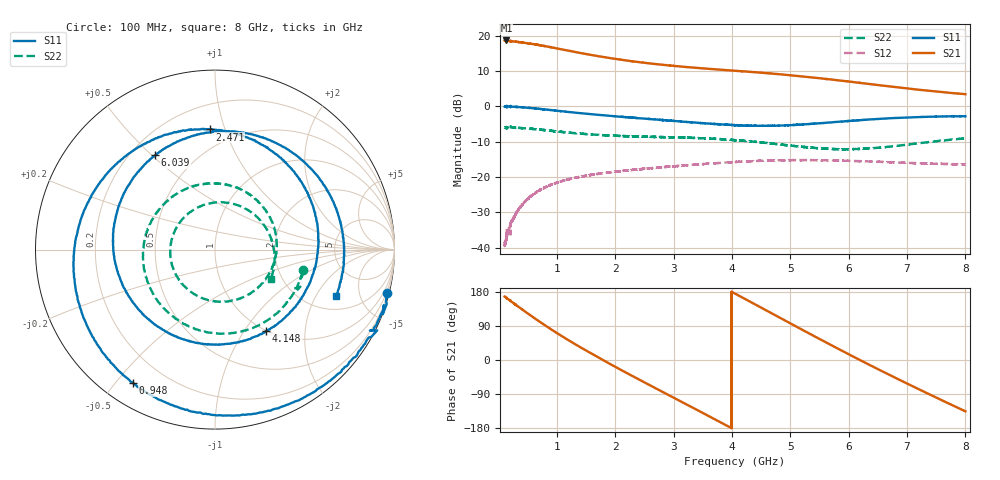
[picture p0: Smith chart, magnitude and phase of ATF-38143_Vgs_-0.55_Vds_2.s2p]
!Agilent Technologies,N5227A,US51270349,A.09.80.20
!Agilent N5227A: A.09.80.20
!Date: Friday, May 27, 2022 18:38:55
!Correction: S11(Full 2 Port(1,2))
!S21(Full 2 Port(1,2))
!S12(Full 2 Port(1,2))
!S22(Full 2 Port(1,2))
!S2P File: Measurements: S11, S21, S12, S22:
# Hz S  RI  R 50
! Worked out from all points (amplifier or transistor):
!   6401 points, 100 MHz to 8 GHz, reference 50 ohm
!   highest |S21| = 18.6 dB at 132.1 MHz (marker M1)
!   |S21| within 3 dB of that: start of sweep to 1.226 GHz
!   unconditionally stable (mu >= 1): 6.738118 GHz to 6.743398 GHz; 6.752578 GHz to 6.765021 GHz; 6.767 GHz to end of sweep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
!   at 1.416 GHz: K = 0.29, MSG = 17.4 dB, |S12| = -19.9 dB
!   at 4.05 GHz: K = 0.69, MSG = 12.9 dB, |S12| = -15.8 dB
!   at 8 GHz: K = 1.14, MAG = 7.6 dB, |S12| = -16.4 dB
!   S11 on the Smith chart (normalised r, x): 100 MHz: 0.36, -8.12; 948 MHz: 0.09, -0.56; 2.471 GHz: 0.37, +0.89; 4.148 GHz: 1.00, -1.27; 6.039 GHz: 0.30, +0.51; 8 GHz: 2.77, -3.01
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1e8  0.96 -0.2395  -8.282 1.829  0.0029 0.0109  0.488 -0.1115
1.320938e8  0.9625 -0.3177  -8.171 2.403  0.0012 0.0137  0.4886 -0.1526
3.407031e8  0.6717 -0.705  -6.214 5.19  0.0214 0.0282  0.3566 -0.3441
5.382031e8  0.2902 -0.9007  -3.649 6.757  0.0441 0.0289  0.1726 -0.4493
7.344688e8  -0.102 -0.9059  -0.9432 7.135  0.0658 0.0163  -0.0187 -0.4631
9.480156e8  -0.4575 -0.7441  1.63 6.488  0.0803 -0.00897  -0.1992 -0.3972
1.178844e9  -0.6962 -0.4585  3.626 4.964  0.0828 -0.0402  -0.3319 -0.2676
1.417078e9  -0.7878 -0.1205  4.775 2.987  0.0702 -0.0729  -0.3951 -0.1094
1.870094e9  -0.6085 0.4139  4.81 -0.6193  0.0168 -0.1142  -0.348 0.1693
2.179922e9  -0.3291 0.6199  3.733 -2.435  -0.0316 -0.1198  -0.2321 0.2991
2.471234e9  -0.0304 0.6691  2.254 -3.46  -0.0766 -0.1045  -0.0928 0.3585
2.734156e9  0.2195 0.6086  0.798 -3.83  -0.112 -0.0775  0.0426 0.3631
3.078547e9  0.4659 0.3978  -1.007 -3.535  -0.1412 -0.024  0.1985 0.3035
3.451328e9  0.5745 0.0765  -2.488 -2.404  -0.1443 0.0449  0.3135 0.1645
4.05e9  0.3599 -0.4044  -3.168 0.2658  -0.0785 0.143  0.3112 -0.1175
4.147516e9  0.2858 -0.4528  -3.054 0.6947  -0.0604 0.1522  0.285 -0.1577
4.772109e9  -0.2637 -0.463  -1.231 2.577  0.0731 0.1562  0.0252 -0.2908
5.367078e9  -0.5646 -0.0198  1.033 2.343  0.1624 0.06  -0.2124 -0.1501
6.038578e9  -0.3333 0.5264  2.169 0.4621  0.1479 -0.0808  -0.2011 0.1446
6.684156e9  0.2138 0.6385  1.504 -1.182  0.0453 -0.1548  0.0496 0.2629
7.280359e9  0.6213 0.3358  0.2074 -1.674  -0.0636 -0.1426  0.2724 0.1374
8e9  0.6755 -0.259  -1.055 -1.04  -0.1432 -0.0485  0.3114 -0.1645
